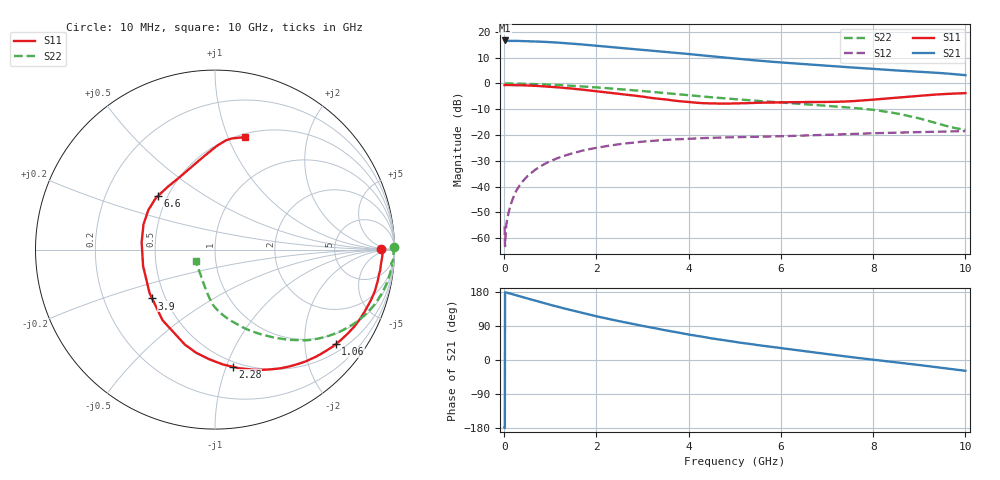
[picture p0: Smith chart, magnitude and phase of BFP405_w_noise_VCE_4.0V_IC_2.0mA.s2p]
! Infineon Technologies  Discrete & RF Semiconductors
! BFP405
! VCE =  4.0 V,  IC =  2.0 mA
! Common Emitter S-Parameters:  Jan 2016
# GHz  S  MA  R  50
!  f  S11  S21  S12  S22
! GHz  MAG  ANG  MAG  ANG  MAG  ANG  MAG  ANG
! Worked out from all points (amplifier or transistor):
!   233 points, 10 MHz to 10 GHz, reference 50 ohm
!   highest |S21| = 16.7 dB at 10 MHz (marker M1)
!   |S21| within 3 dB of that: start of sweep to 2.601 GHz
!   unconditionally stable (mu >= 1): 14.74 MHz to 15.29 MHz; 4.465 GHz to end of sweep
!   at 200 MHz: K = 0.11, MSG = 30.3 dB, |S12| = -44.2 dB
!   at 1.74 GHz: K = 0.31, MSG = 20.5 dB, |S12| = -25.9 dB
!   at 10 GHz: K = 1.67, MAG = 6.1 dB, |S12| = -18.5 dB
!   lowest NFmin = 0.86 dB at 900 MHz
!   S11 on the Smith chart (normalised r, x): 10 MHz: 27, +1; 1.06 GHz: 0.70, -2.74; 2.28 GHz: 0.46, -1.05; 3.9 GHz: 0.42, -0.29; 6.6 GHz: 0.44, +0.33; 10 GHz: 0.53, +1.15
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0.01  0.9275 0.2  6.81 -177.7  0.0017 -29.9  1 0.9
0.015  0.9294 -0.1  6.754 -179.5  0.0009 -6.6  0.9957 0.6
0.02  0.9313 -0.3  6.704 178.7  0.0007 67.7  0.9915 0.2
0.05  0.9337 -1.8  6.664 178.2  0.0019 77.7  0.9952 -0.5
0.12  0.9294 -4.3  6.686 175.5  0.0038 81.2  0.9947 -2.1
0.24  0.9246 -8.4  6.683 171.5  0.0076 82.9  0.986 -4.3
0.4  0.9203 -14.5  6.65 166.0  0.0126 81.3  0.9855 -7.0
0.8  0.8867 -28.9  6.454 152.4  0.0251 74.6  0.9639 -14.0
1.06  0.8545 -38.1  6.27 143.7  0.0327 69.7  0.9425 -18.5
1.38  0.8079 -49.5  5.987 133.6  0.0417 63.9  0.9101 -23.7
1.68  0.7597 -60.1  5.705 124.6  0.0493 58.5  0.876 -28.2
2  0.706 -71.6  5.387 115.4  0.0566 53.2  0.8378 -32.7
2.28  0.66 -81.4  5.115 108.0  0.0622 48.8  0.8027 -36.4
2.84  0.5775 -101.8  4.62 93.9  0.072 40.7  0.7326 -43.3
3.4  0.4985 -122.4  4.16 80.8  0.0793 33.3  0.6609 -49.6
3.9  0.4435 -142.2  3.781 69.6  0.0841 27.4  0.6012 -55.0
4.5  0.4109 -167.2  3.364 57.0  0.0885 21.4  0.5387 -61.3
5.1  0.411 171.6  2.985 46.1  0.0911 16.5  0.4876 -67.1
6.6  0.4361 136.5  2.34 22.0  0.0982 8.3  0.3909 -79.6
6.8  0.4355 131.8  2.269 18.8  0.0995 7.3  0.3791 -81.2
8.4  0.521 97.1  1.811 -4.9  0.1103 -1.6  0.2724 -96.5
10  0.6485 75.1  1.448 -28.5  0.119 -10.1  0.1266 -149.1
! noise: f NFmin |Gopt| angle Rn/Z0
0.9  0.86  0.58  15  0.42
1.8  1.21  0.46  27  0.37
2.4  1.43  0.38  38  0.36
3  1.47  0.38  52  0.33
4  1.69  0.25  80  0.26
5  2.05  0.21  114  0.21
